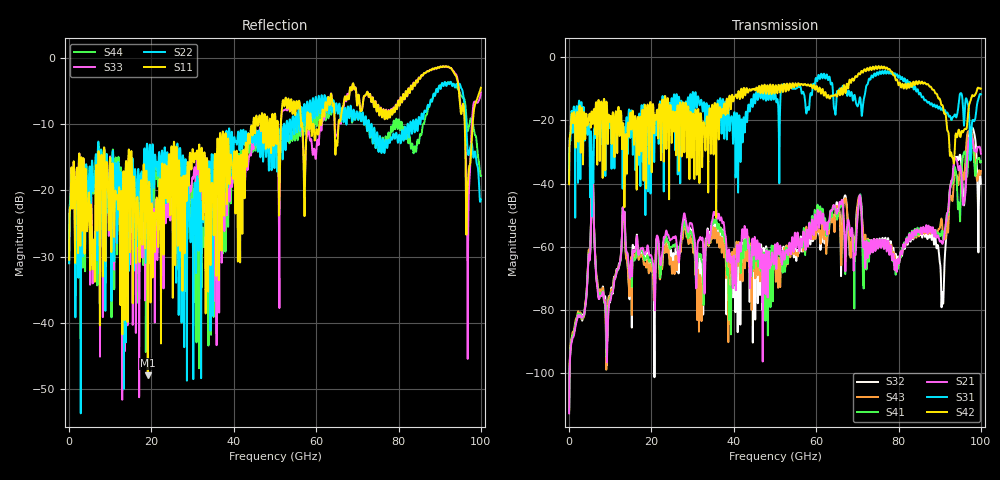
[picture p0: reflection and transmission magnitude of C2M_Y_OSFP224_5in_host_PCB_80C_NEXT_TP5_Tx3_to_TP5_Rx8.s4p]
# GHz S RI R 45
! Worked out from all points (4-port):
!   4000 points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, 25 MHz to 100 GHz, reference 45 ohm
!   strongest paths, dB at 25 MHz, 25.02 GHz, 50.02 GHz, 75.03 GHz, 100 GHz:
!     S42: -40.2, -23.5, -10.0, -3.1, -9.9
!     S31: -39.4, -13.8, -11.5, -5.4, -11.7
!     S21: -112.8, -57.6, -59.3, -60.6, -30.5
!     S41: -112.3, -60.0, -65.0, -59.4, -33.0
!     S43: -111.6, -68.6, -62.1, -59.0, -36.0
!     S32: -111.9, -65.4, -62.8, -60.4, -40.1
!   lowest |S11| = -47.9 dB at 19.12 GHz (marker M1), VSWR 1.01, Z = 45.3 + j0.14 ohm
!   |S11| at or under -10 dB: start of sweep to 44.74 GHz; 59.32 GHz to 60.78 GHz (1.455 GHz wide, 2.42 % of centre); 96.08 GHz to 98.01 GHz (1.929 GHz wide, 1.99 % of centre)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
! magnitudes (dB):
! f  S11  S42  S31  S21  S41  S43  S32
! 25 MHz  -30.5  -40.2  -39.4  -112.8  -112.3  -111.6  -111.9
! 5.7 GHz  -31.1  -19.9  -30.6  -39.1  -39.1  -39.1  -39.1
! 9.2 GHz  -16.3  -15.2  -16.5  -96.7  -91.6  -89.3  -90.7
! 19.12 GHz  -47.9  -15.1  -23.8  -59.7  -62.9  -65.0  -61.3
! 90.65 GHz  -1.4  -15.1  -16.1  -59.1  -56.1  -53.8  -74.6
! 93.85 GHz  -2.6  -24.6  -18.6  -32.1  -35.7  -36.5  -31.7
! 100 GHz  -4.6  -9.9  -11.7  -30.5  -33.0  -36.0  -40.1
